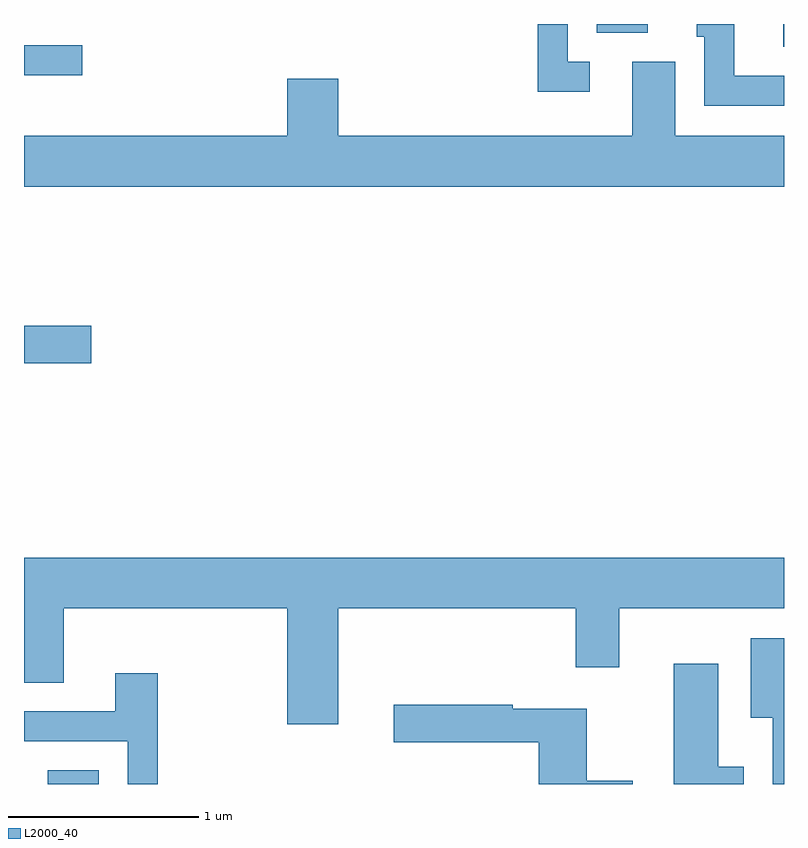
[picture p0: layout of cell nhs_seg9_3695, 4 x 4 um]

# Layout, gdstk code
import gdstk
lib = gdstk.Library(unit=1e-6, precision=1e-09)
def R(c, l, rs):  # rectangles x0, y0, x1, y1
    for r in rs: c.add(gdstk.rectangle(r[:2], r[2:], *l))
def P(c, l, *ps):  # polygons
    for p in ps: c.add(gdstk.Polygon(p, *l))
L2000_40 = (2000, 40)

nhs_seg9_3695 = lib.new_cell('nhs_seg9_3695')
R(nhs_seg9_3695, L2000_40, [(293.736,2006.432,294.004,2006.504), (293.611,2008.646,293.964,2008.844), (293.611,2010.161,293.918,2010.319), (297.608,2010.311,297.611,2010.432), (296.626,2010.386,296.894,2010.432)])
P(nhs_seg9_3695, L2000_40, [(296.588,2010.234),(296.474,2010.234),(296.474,2010.432),(296.316,2010.432),(296.316,2010.076),(296.588,2010.076)],
  [(297.611,2010.159),(297.349,2010.159),(297.349,2010.432),(297.151,2010.432),(297.151,2010.366),(297.191,2010.366),(297.191,2010.001),(297.611,2010.001)],
  [(297.611,2009.844),(297.039,2009.844),(297.039,2010.234),(296.811,2010.234),(296.811,2009.844),(295.264,2009.844),(295.264,2010.144),(294.996,2010.144),(294.996,2009.844),(293.611,2009.844),(293.611,2009.576),(297.611,2009.576)],
  [(295.264,2007.356),(296.516,2007.356),(296.516,2007.046),(296.744,2007.046),(296.744,2007.356),(297.611,2007.356),(297.611,2007.624),(293.611,2007.624),(293.611,2006.966),(293.819,2006.966),(293.819,2007.356),(294.996,2007.356),(294.996,2006.746),(295.264,2006.746)],
  [(297.611,2007.199),(297.436,2007.199),(297.436,2006.781),(297.551,2006.781),(297.551,2006.432),(297.611,2006.432)],
  [(297.399,2006.524),(297.264,2006.524),(297.264,2007.064),(297.031,2007.064),(297.031,2006.432),(297.399,2006.432)],
  [(294.314,2007.014),(294.091,2007.014),(294.091,2006.814),(293.611,2006.814),(293.611,2006.656),(294.156,2006.656),(294.156,2006.432),(294.314,2006.432)],
  [(296.814,2006.449),(296.574,2006.449),(296.574,2006.829),(296.184,2006.829),(296.184,2006.849),(295.556,2006.849),(295.556,2006.651),(296.321,2006.651),(296.321,2006.432),(296.814,2006.432)])

lib.write_gds('nhs_seg9_3695.gds')
